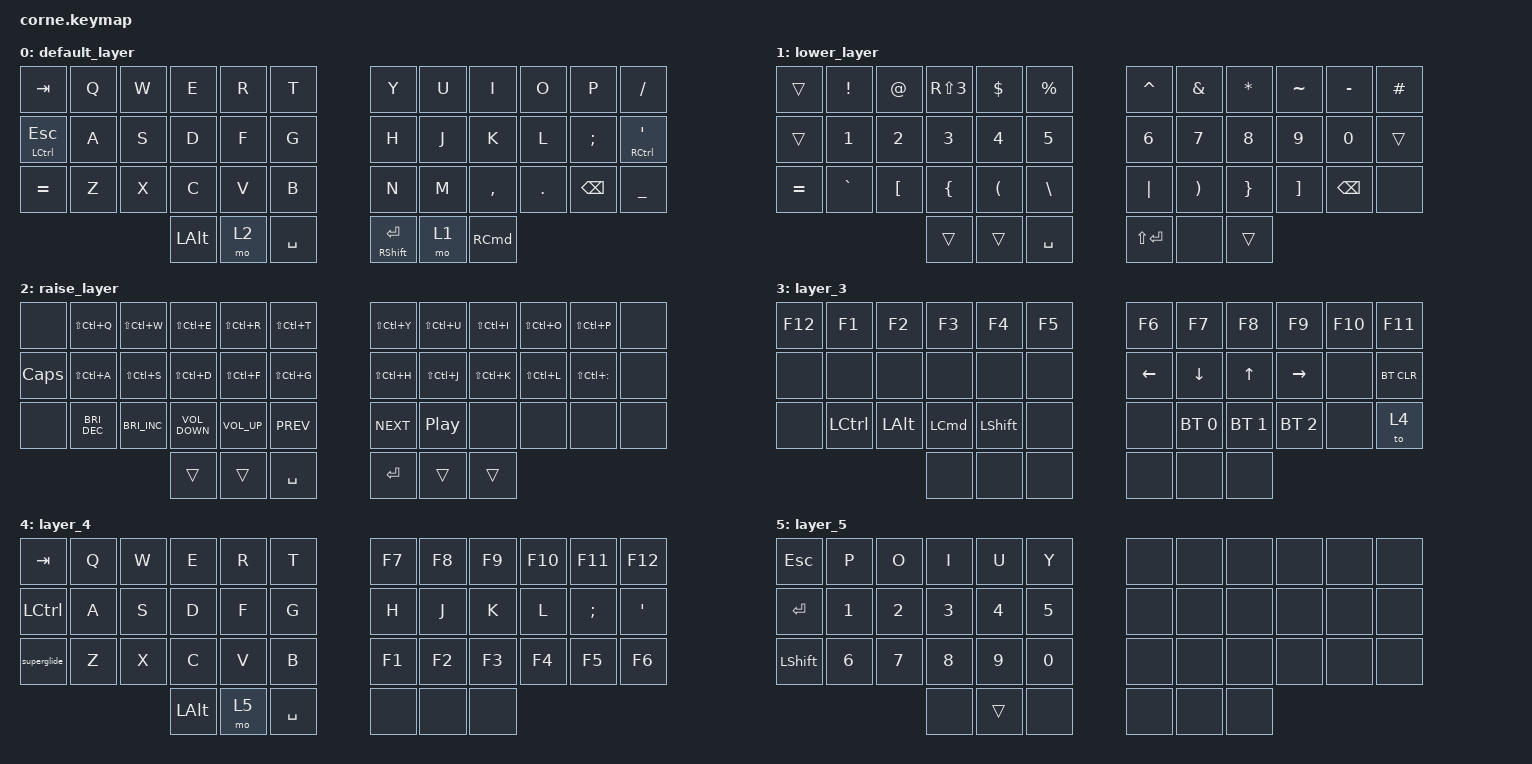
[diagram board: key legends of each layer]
/*
 * Copyright (c) 2020 The ZMK Contributors
 *
 * SPDX-License-Identifier: MIT
 */

#include <behaviors.dtsi>
#include <dt-bindings/zmk/bt.h>
#include <dt-bindings/zmk/keys.h>

/ {
    combos {
        compatible = "zmk,combos";

        layer3 {
            bindings = <&mo 3>;
            key-positions = <37 40>;
        };
    };

    macros {
        superglide: superglide {
            compatible = "zmk,behavior-macro";
            #binding-cells = <0>;
            bindings =
                <&macro_press>,
                <&kp SPACE>,
                <&macro_wait_time 10>,
                <&macro_tap>,
                <&kp A>,
                <&macro_release>,
                <&kp SPACE>,
                <&macro_wait_time 1>;

            label = "SUPERGLIDE";
            wait-ms = <10>;
        };
    };

    keymap {
        compatible = "zmk,keymap";

        default_layer {
            // -----------------------------------------------------------------------------------------
            // |  TAB |  Q  |  W  |  E  |  R  |  T  |   |  Y  |  U   |  I  |  O  |  P  | BKSP |
            // | CTRL |  A  |  S  |  D  |  F  |  G  |   |  H  |  J   |  K  |  L  |  ;  |  '   |
            // | SHFT |  Z  |  X  |  C  |  V  |  B  |   |  N  |  M   |  ,  |  .  |  /  | ESC  |
            //                    | GUI | LWR | SPC |   | ENT | RSE  | ALT |

            bindings = <
&kp TAB                  &kp Q  &kp W  &kp E         &kp R  &kp T        &kp Y                &kp U  &kp I              &kp O       &kp P          &kp SLASH
&mt LEFT_CONTROL ESCAPE  &kp A  &kp S  &kp D         &kp F  &kp G        &kp H                &kp J  &kp K              &kp L       &kp SEMI       &mt RIGHT_CONTROL SQT
&kp EQUAL                &kp Z  &kp X  &kp C         &kp V  &kp B        &kp N                &kp M  &kp COMMA          &kp PERIOD  &kp BACKSPACE  &kp UNDERSCORE
                                       &kp LEFT_ALT  &mo 2  &kp SPACE    &mt RIGHT_SHIFT RET  &mo 1  &kp RIGHT_COMMAND
            >;
        };

        lower_layer {
            // -----------------------------------------------------------------------------------------
            // |  TAB |  1  |  2  |  3  |  4  |  5  |   |  6  |  7  |  8  |  9  |  0  | BKSP |
            // | BTCLR| BT1 | BT2 | BT3 | BT4 | BT5 |   | LFT | DWN |  UP | RGT |     |      |
            // | SHFT |     |     |     |     |     |   |     |     |     |     |     |      |
            //                    | GUI |     | SPC |   | ENT |     | ALT |

            bindings = <
&trans     &kp EXCLAMATION  &kp AT_SIGN       &kp RS(NUMBER_3)  &kp DOLLAR            &kp PERCENT      &kp CARET     &kp AMPERSAND          &kp ASTERISK     &kp TILDE          &kp MINUS      &kp HASH
&trans     &kp NUMBER_1     &kp NUMBER_2      &kp NUMBER_3      &kp NUMBER_4          &kp NUMBER_5     &kp NUMBER_6  &kp NUMBER_7           &kp NUMBER_8     &kp NUMBER_9       &kp NUMBER_0   &trans
&kp EQUAL  &kp GRAVE        &kp LEFT_BRACKET  &kp LEFT_BRACE    &kp LEFT_PARENTHESIS  &kp BACKSLASH    &kp PIPE      &kp RIGHT_PARENTHESIS  &kp RIGHT_BRACE  &kp RIGHT_BRACKET  &kp BACKSPACE  &none
                                              &trans            &trans                &kp SPACE        &kp LS(RET)   &none                  &trans
            >;
        };

        raise_layer {
            // -----------------------------------------------------------------------------------------
            // |  TAB |  !  |  @  |  #  |  $  |  %  |   |  ^  |  &  |  *  |  (  |  )  | BKSP |
            // | CTRL |     |     |     |     |     |   |  -  |  =  |  [  |  ]  |  \  |  `   |
            // | SHFT |     |     |     |     |     |   |  _  |  +  |  {  |  }  | "|" |  ~   |
            //                    | GUI |     | SPC |   | ENT |     | ALT |

            bindings = <
&none     &kp LS(LC(Q))         &kp LS(LC(W))         &kp LS(LC(E))      &kp LS(LC(R))    &kp LS(LC(T))    &kp LS(LC(Y))  &kp LS(LC(U))     &kp LS(LC(I))  &kp LS(LC(O))  &kp LS(LC(P))      &none
&kp CAPS  &kp LS(LC(A))         &kp LS(LC(S))         &kp LS(LC(D))      &kp LS(LC(F))    &kp LS(LC(G))    &kp LS(LC(H))  &kp LS(LC(J))     &kp LS(LC(K))  &kp LS(LC(L))  &kp LS(LC(COLON))  &none
&none     &kp C_BRIGHTNESS_DEC  &kp C_BRIGHTNESS_INC  &kp C_VOLUME_DOWN  &kp C_VOLUME_UP  &kp C_PREV       &kp C_NEXT     &kp C_PLAY_PAUSE  &none          &none          &none              &none
                                                      &trans             &trans           &kp SPACE        &kp ENTER      &trans            &trans
            >;
        };

        layer_3 {
            bindings = <
&kp F12  &kp F1            &kp F2        &kp F3            &kp F4          &kp F5    &kp F6    &kp F7        &kp F8        &kp F9        &kp F10  &kp F11
&none    &none             &none         &none             &none           &none     &kp LEFT  &kp DOWN      &kp UP        &kp RIGHT     &none    &bt BT_CLR
&none    &kp LEFT_CONTROL  &kp LEFT_ALT  &kp LEFT_COMMAND  &kp LEFT_SHIFT  &none     &none     &bt BT_SEL 0  &bt BT_SEL 1  &bt BT_SEL 2  &none    &to 4
                                         &none             &none           &none     &none     &none         &none
            >;
        };

        layer_4 {
            bindings = <
&kp TAB           &kp Q  &kp W  &kp E         &kp R  &kp T        &kp F7  &kp F8  &kp F9  &kp F10  &kp F11   &kp F12
&kp LEFT_CONTROL  &kp A  &kp S  &kp D         &kp F  &kp G        &kp H   &kp J   &kp K   &kp L    &kp SEMI  &kp APOS
&superglide       &kp Z  &kp X  &kp C         &kp V  &kp B        &kp F1  &kp F2  &kp F3  &kp F4   &kp F5    &kp F6
                                &kp LEFT_ALT  &mo 5  &kp SPACE    &none   &none   &none
            >;
        };

        layer_5 {
            bindings = <
&kp ESC         &kp P         &kp O         &kp I         &kp U         &kp Y           &none  &none  &none  &none  &none  &none
&kp RET         &kp NUMBER_1  &kp NUMBER_2  &kp NUMBER_3  &kp NUMBER_4  &kp N5          &none  &none  &none  &none  &none  &none
&kp LEFT_SHIFT  &kp NUMBER_6  &kp NUMBER_7  &kp NUMBER_8  &kp NUMBER_9  &kp NUMBER_0    &none  &none  &none  &none  &none  &none
                                            &none         &trans        &none           &none  &none  &none
            >;
        };
    };
};
